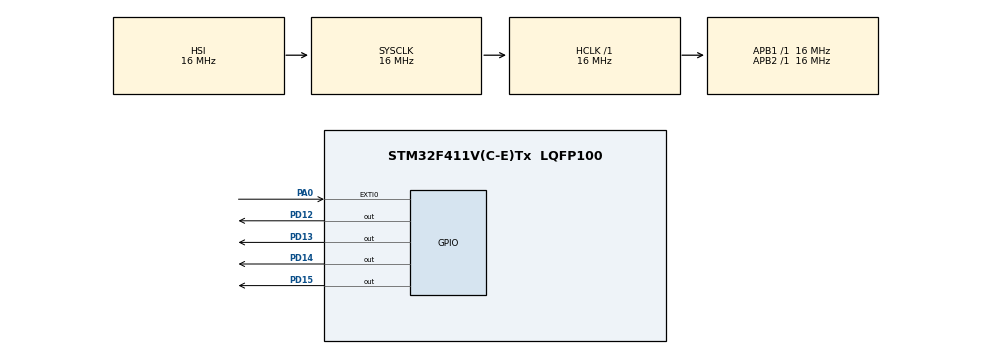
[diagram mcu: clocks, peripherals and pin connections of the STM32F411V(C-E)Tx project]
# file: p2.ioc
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Mcu.Family=STM32F4
Mcu.Name=STM32F411V(C-E)Tx
Mcu.Package=LQFP100
NVIC.EXTI0_IRQn=true\:0\:0\:false\:false\:true\:true\:true\:true
NVIC.PriorityGroup=NVIC_PRIORITYGROUP_4
PA0-WKUP.Signal=GPXTI0
PD12.Signal=GPIO_Output
PD13.Signal=GPIO_Output
PD14.Signal=GPIO_Output
PD15.Signal=GPIO_Output
ProjectManager.HeapSize=0x200
ProjectManager.StackSize=0x400
ProjectManager.TargetToolchain=STM32CubeIDE
RCC.AHBFreq_Value=16000000
RCC.APB1Freq_Value=16000000
RCC.APB2Freq_Value=16000000
RCC.CortexFreq_Value=16000000
RCC.HSE_VALUE=25000000
RCC.HSI_VALUE=16000000
RCC.LSE_VALUE=32768
RCC.SYSCLKFreq_VALUE=16000000
RCC.VCOOutputFreq_Value=192000000
board=custom

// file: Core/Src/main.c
/* USER CODE BEGIN Header */
/**
  ******************************************************************************
  * @file           : main.c
  * @brief          : Main program body
  ******************************************************************************
  * @attention
  *
  * Copyright (c) 2025 STMicroelectronics.
  * All rights reserved.
  *
  * This software is licensed under terms that can be found in the LICENSE file
  * in the root directory of this software component.
  * If no LICENSE file comes with this software, it is provided AS-IS.
  *
  ******************************************************************************
  */
/* USER CODE END Header */
#include "main.h"

/* USER CODE BEGIN Includes */
#include <stdlib.h> // Necesario para la función rand() [cite: 370]
/* USER CODE END Includes */

/* USER CODE BEGIN PD */
#define NUM_MEASUREMENTS 5 // Número de medidas para la media (Tarea 3)
/* USER CODE END PD */

/* USER CODE BEGIN PV */
// Variable bandera para comunicar la interrupción con el bucle principal. [cite: 367]
// 'volatile' evita que el compilador optimice su acceso.
volatile uint8_t g_button_pressed_flag = 0;
/* USER CODE END PV */

void SystemClock_Config(void);
static void MX_GPIO_Init(void);

int main(void)
{
  /* USER CODE BEGIN 1 */
  uint32_t measurements[NUM_MEASUREMENTS];
  uint32_t total_count = 0;
  uint32_t average_reaction = 0;
  uint32_t reaction_counter = 0;
  /* USER CODE END 1 */

  /* MCU Configuration--------------------------------------------------------*/

  /* Reset of all peripherals, Initializes the Flash interface and the Systick. */
  HAL_Init();

  /* Configure the system clock */
  SystemClock_Config();

  /* Initialize all configured peripherals */
  MX_GPIO_Init();

  /* Infinite loop */
  /* USER CODE BEGIN WHILE */
  while (1)
  {
    // Bucle para realizar 5 mediciones (Tarea 3)
    for (int i = 0; i < NUM_MEASUREMENTS; i++)
    {
        // 1. Apagar todos los LEDs. [cite: 357]
        HAL_GPIO_WritePin(GPIOD, GPIO_PIN_12|GPIO_PIN_13|GPIO_PIN_14|GPIO_PIN_15, GPIO_PIN_RESET);

        // Tarea 2b: Deshabilitar interrupciones para evitar pulsaciones prematuras.
        HAL_NVIC_DisableIRQ(EXTI0_IRQn); [cite: 387]

        g_button_pressed_flag = 0;
        reaction_counter = 0; // Inicializar contador a cero. [cite: 359]

        // 2. Esperar un tiempo aleatorio (entre 2 y 4 segundos) usando un método no bloqueante (Tarea 5).
        uint32_t random_delay = 2000 + (rand() % 2001);
        uint32_t tick_start = HAL_GetTick(); [cite: 397]
        while ((HAL_GetTick() - tick_start) < random_delay) // [cite: 398]
        {
            // El microprocesador está libre para otras tareas aquí.
        }

        // 3. Encender un LED. [cite: 361]
        HAL_GPIO_WritePin(GPIOD, GPIO_PIN_12, GPIO_PIN_SET);

        // Tarea 2b: Habilitar las interrupciones justo ahora. [cite: 387]
        HAL_NVIC_EnableIRQ(EXTI0_IRQn); [cite: 387]

        // 4. Esperar a que el usuario pulse el botón mientras se incrementa el contador. [cite: 362]
        while (g_button_pressed_flag == 0)
        {
            reaction_counter++; // Incrementar contador. [cite: 363]
        }

        // El botón ha sido pulsado. Guardar el valor del contador. [cite: 364]
        measurements[i] = reaction_counter;
        total_count += measurements[i];

        // Apagar el LED que encendimos
        HAL_GPIO_WritePin(GPIOD, GPIO_PIN_12, GPIO_PIN_RESET);

        // 5. Esperar ~2 segundos antes de la siguiente ronda (usando método no bloqueante).
        tick_start = HAL_GetTick();
        while ((HAL_GetTick() - tick_start) < 2000)
        {
            // Bucle de espera no bloqueante.
        }
    }

    // Al final de las 5 rondas, calcular la media.
    average_reaction = total_count / NUM_MEASUREMENTS;

    // Puedes poner un breakpoint aquí para ver el valor de 'average_reaction' en el depurador.
    // Opcional: Encender todos los LEDs para indicar que el juego ha terminado.
    HAL_GPIO_WritePin(GPIOD, GPIO_PIN_12|GPIO_PIN_13|GPIO_PIN_14|GPIO_PIN_15, GPIO_PIN_SET);

    // Detener el programa aquí hasta el próximo reinicio.
    while(1);

    /* USER CODE END WHILE */

  }
}

void SystemClock_Config(void)
{
  RCC_OscInitTypeDef RCC_OscInitStruct = {0};
  RCC_ClkInitTypeDef RCC_ClkInitStruct = {0};

  /** Configure the main internal regulator output voltage
  */
  __HAL_RCC_PWR_CLK_ENABLE();
  __HAL_PWR_VOLTAGESCALING_CONFIG(PWR_REGULATOR_VOLTAGE_SCALE1);

  /** Initializes the RCC Oscillators according to the specified parameters
  * in the RCC_OscInitTypeDef structure.
  */
  RCC_OscInitStruct.OscillatorType = RCC_OSCILLATORTYPE_HSI;
  RCC_OscInitStruct.HSIState = RCC_HSI_ON;
  RCC_OscInitStruct.HSICalibrationValue = RCC_HSICALIBRATION_DEFAULT;
  RCC_OscInitStruct.PLL.PLLState = RCC_PLL_NONE;
  if (HAL_RCC_OscConfig(&RCC_OscInitStruct) != HAL_OK)
  {
    Error_Handler();
  }

  /** Initializes the CPU, AHB and APB buses clocks
  */
  RCC_ClkInitStruct.ClockType = RCC_CLOCKTYPE_HCLK|RCC_CLOCKTYPE_SYSCLK
                              |RCC_CLOCKTYPE_PCLK1|RCC_CLOCKTYPE_PCLK2;
  RCC_ClkInitStruct.SYSCLKSource = RCC_SYSCLKSOURCE_HSI;
  RCC_ClkInitStruct.AHBCLKDivider = RCC_SYSCLK_DIV1;
  RCC_ClkInitStruct.APB1CLKDivider = RCC_HCLK_DIV1;
  RCC_ClkInitStruct.APB2CLKDivider = RCC_HCLK_DIV1;

  if (HAL_RCC_ClockConfig(&RCC_ClkInitStruct, FLASH_LATENCY_0) != HAL_OK)
  {
    Error_Handler();
  }
}

static void MX_GPIO_Init(void)
{
  GPIO_InitTypeDef GPIO_InitStruct = {0};

  /* GPIO Ports Clock Enable */
  __HAL_RCC_GPIOA_CLK_ENABLE();
  __HAL_RCC_GPIOD_CLK_ENABLE();

  /*Configure GPIO pin Output Level */
  HAL_GPIO_WritePin(GPIOD, GPIO_PIN_12|GPIO_PIN_13|GPIO_PIN_14|GPIO_PIN_15, GPIO_PIN_RESET);

  /*Configure GPIO pin : PA0 */
  GPIO_InitStruct.Pin = GPIO_PIN_0;
  GPIO_InitStruct.Mode = GPIO_MODE_IT_RISING; // Interrupción por flanco de subida.
  GPIO_InitStruct.Pull = GPIO_NOPULL;
  HAL_GPIO_Init(GPIOA, &GPIO_InitStruct);

  /*Configure GPIO pins : PD12 PD13 PD14 PD15 */
  GPIO_InitStruct.Pin = GPIO_PIN_12|GPIO_PIN_13|GPIO_PIN_14|GPIO_PIN_15;
  GPIO_InitStruct.Mode = GPIO_MODE_OUTPUT_PP;
  GPIO_InitStruct.Pull = GPIO_NOPULL;
  GPIO_InitStruct.Speed = GPIO_SPEED_FREQ_LOW;
  HAL_GPIO_Init(GPIOD, &GPIO_InitStruct);

  /* EXTI interrupt init*/
  HAL_NVIC_SetPriority(EXTI0_IRQn, 0, 0);
  HAL_NVIC_EnableIRQ(EXTI0_IRQn);

}

/* USER CODE BEGIN 4 */
/**
  * @brief  EXTI Line Detection Callback.
  * @param  GPIO_Pin: Specifies the port pin connected to corresponding EXTI line.
  * @retval None
  */
void HAL_GPIO_EXTI_Callback(uint16_t GPIO_Pin)
{
    // Tarea 4: Implementación de antirrebotes (debounce) por software.
    static uint32_t last_tick = 0; // 'static' para que conserve su valor entre llamadas.
    uint32_t current_tick = HAL_GetTick(); // Usamos HAL_GetTick() para medir el tiempo. [cite: 395]

    // Nos aseguramos de que la interrupción proviene del pin que esperamos (PA0).
    if (GPIO_Pin == GPIO_PIN_0)
    {
        // Comprobamos si ha pasado un tiempo mínimo (ej. 150ms) desde la última interrupción válida.
        // Esto crea una "zona muerta" para ignorar los rebotes. [cite: 78]
        if (current_tick - last_tick > 150)
        {
            last_tick = current_tick; // Actualizamos el tiempo de la última interrupción válida.

            // Activamos la bandera que indica que la ISR se ha ejecutado. [cite: 367]
            g_button_pressed_flag = 1;
        }
    }
}
/* USER CODE END 4 */

void Error_Handler(void)
{
  __disable_irq();
  while (1)
  {
  }
}
